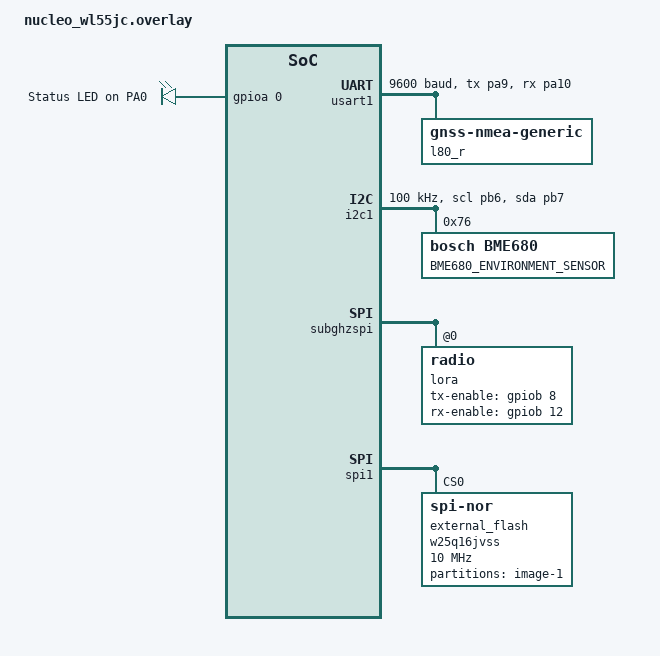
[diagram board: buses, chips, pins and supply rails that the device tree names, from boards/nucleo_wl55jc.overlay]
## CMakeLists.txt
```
#-------------------------------------------------------------------------------
# Zephyr Example Application
#
# Copyright (c) 2021 Nordic Semiconductor ASA
# SPDX-License-Identifier: Apache-2.0

cmake_minimum_required(VERSION 3.13.1)
find_package(Zephyr REQUIRED HINTS $ENV{ZEPHYR_BASE})

project(app LANGUAGES C)

target_sources(app PRIVATE 
  src/main.c 
  src/led.c 
  src/gps.c
  src/lora.c
)

zephyr_include_directories(include)

# The code below locates the git index file for this repository and adds it as a dependency for
# the application VERSION file so that if the repo has a new commit added, even if no files in
# the build have changed, the application version file will be regenerated with the new git commit
find_package(Git QUIET)
if(GIT_FOUND)
  execute_process(
    COMMAND ${GIT_EXECUTABLE} rev-parse --absolute-git-dir
    WORKING_DIRECTORY .
    OUTPUT_VARIABLE application_git_dir
    OUTPUT_STRIP_TRAILING_WHITESPACE
    ERROR_STRIP_TRAILING_WHITESPACE
    ERROR_VARIABLE stderr
    RESULT_VARIABLE return_code
  )
  # If there is an error e.g. it is not a git repo, we just silently ignore it and continue
  # without a dependency, this will be the case with freestanding applications.
  if(NOT return_code)
    if(NOT "${stderr}" STREQUAL "")
      message(WARNING "Application build version git rev-parse warned: ${stderr}")
    endif()

    set_property(TARGET app_version_h PROPERTY APP_VERSION_DEPENDS ${application_git_dir}/index)
  endif()
endif()
```

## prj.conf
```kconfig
# Copyright (c) 2021 Nordic Semiconductor ASA
# SPDX-License-Identifier: Apache-2.0
#
# This file contains selected Kconfig options for the application.

CONFIG_SENSOR=y
CONFIG_BME680=y # enable driver for BME680 gas sensor

CONFIG_GPIO=y

# for debugging purposes
CONFIG_STDOUT_CONSOLE=y
CONFIG_PRINTK=y
CONFIG_LOG=y
CONFIG_LOG_MODE_IMMEDIATE=y

CONFIG_LORA=y
CONFIG_LORAWAN=y
CONFIG_LORAWAN_REGION_EU868=y
CONFIG_HAS_SEMTECH_LORAMAC=y
CONFIG_HAS_SEMTECH_RADIO_DRIVERS=y 

CONFIG_SHELL=y
CONFIG_I2C_SHELL=y

# Enable settings to store LoRaWAN parameters (DevNonce) in non-volatile memory 
CONFIG_LORAWAN_NVM_SETTINGS=y 
CONFIG_SETTINGS=y
CONFIG_SETTINGS_RUNTIME=y
# use Non-Volatile Storage backend to store settings
# zephyr will look for a fixed partition with label "storage" in the device tree
CONFIG_NVS=y
CONFIG_SETTINGS_NVS=y 

# LoRaWAN services required for FUOTA
CONFIG_LORAWAN_SERVICES=y
CONFIG_LORAWAN_SERVICES_LOG_LEVEL_DBG=y
CONFIG_LORAWAN_APP_CLOCK_SYNC=y
CONFIG_LORAWAN_REMOTE_MULTICAST=y
CONFIG_LORAWAN_FRAG_TRANSPORT=y

CONFIG_FLASH=y
CONFIG_FLASH_MAP=y
CONFIG_MPU_ALLOW_FLASH_WRITE=y
# General Zephyr settings
CONFIG_MAIN_STACK_SIZE=2048
CONFIG_SYSTEM_WORKQUEUE_STACK_SIZE=2048
CONFIG_THREAD_NAME=y
CONFIG_LOG=y

# LoRa PHY
CONFIG_LORA=y

# NVS required to store LoRaWAN DevNonce
CONFIG_NVS=y
CONFIG_SETTINGS=y

# Random number generator required for several LoRaWAN services
CONFIG_ENTROPY_GENERATOR=y

# LoRaWAN application layer
CONFIG_LORAWAN=y
CONFIG_LORAWAN_REGION_EU868=y
CONFIG_LORAWAN_NVM_SETTINGS=y

# LoRaWAN services required for FUOTA
CONFIG_LORAWAN_SERVICES=y
CONFIG_LORAWAN_SERVICES_LOG_LEVEL_DBG=y
CONFIG_LORAWAN_APP_CLOCK_SYNC=y
CONFIG_LORAWAN_REMOTE_MULTICAST=y
CONFIG_LORAWAN_FRAG_TRANSPORT=y
CONFIG_LORAWAN_FRAG_TRANSPORT_MAX_FRAG_SIZE=30
# CONFIG_LORAWAN_FRAG_TRANSPORT_MIN_FRAG_SIZE=1

# enable SPI-NOR-Flash (external) to store firmware result for FUOTA
CONFIG_SPI_NOR=y
CONFIG_SPI_NOR_SFDP_RUNTIME=y   # auto-detects geometry at boot

# Flash driver to store firmware image
CONFIG_FLASH=y
CONFIG_FLASH_MAP=y
CONFIG_FLASH_PAGE_LAYOUT=y
CONFIG_STREAM_FLASH=y
CONFIG_IMG_MANAGER=y

# Random number generator required for several LoRaWAN services
CONFIG_ENTROPY_GENERATOR=y

# GPS module
CONFIG_SERIAL=y
CONFIG_UART_INTERRUPT_DRIVEN=y

# I2C1 for gas sensors
CONFIG_I2C=y

CONFIG_CBPRINTF_FP_SUPPORT=y # floating point support (for formatting FP numbers to strings)

CONFIG_HWINFO=y # to extract hardware ID, DevEUI-64 etc

# Increase system workqueue stack to allow Semtech soft secure-element
CONFIG_SYSTEM_WORKQUEUE_STACK_SIZE=2048
CONFIG_MAIN_STACK_SIZE=2048

CONFIG_HAS_SEMTECH_SOFT_SE=y # Enable Semtech software Secure Element implementation for LoRaMac-node
```

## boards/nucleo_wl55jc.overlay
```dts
/ {
	aliases {
		led0 = &status_led;
		gps-uart = &usart1;
		sensor-i2c = &i2c1;
		lora0 = &lora;
        gnss = &quectel;
	};

	chosen {
		zephyr,console = &lpuart1;
		zephyr,shell-uart = &lpuart1;
	};

	leds {
		compatible = "gpio-leds";
		status_led: led_0 {
			gpios = <&gpioa 0 GPIO_ACTIVE_HIGH>;
			label = "Status LED on PA0";
		};
	};
};

/* UART1 configuration for GPS-module */
&usart1 {
	status = "okay";
	current-speed = <9600>; /* default setting of L80-R */
	pinctrl-0 = <&usart1_tx_pa9 &usart1_rx_pa10>;
	pinctrl-names = "default";

    quectel: l80_r {
        compatible = "gnss-nmea-generic";
        label = "l80_r";
        status = "okay";
    };
};

/* I2C1 configuration for gas sensors */
&i2c1 {
	status = "okay";
	pinctrl-0 = <&i2c1_scl_pb6 &i2c1_sda_pb7>;
	pinctrl-names = "default";
	clock-frequency = <I2C_BITRATE_STANDARD>; /* 100 kHz, or I2C_BITRATE_FAST for 400 kHz */

	bme680: bme680@76 {
        compatible = "bosch,bme680";
        reg = <0x76>;                            
        label = "BME680_ENVIRONMENT_SENSOR";
    };
};

&subghzspi {
    status = "okay";

    lora: radio@0 {
        status = "okay";
        tx-enable-gpios = <&gpiob 8 GPIO_ACTIVE_HIGH>; 
        rx-enable-gpios = <&gpiob 12 GPIO_ACTIVE_HIGH>; 
        dio3-tcxo-voltage = <SX126X_DIO3_TCXO_3V3>;
        tcxo-power-startup-delay-ms = <5>;
        power-amplifier-output = "rfo-lp";
        rfo-lp-max-power = <15>;
        rfo-hp-max-power = <22>;
    };
};

/* Remove partition with label "image-1" in the internal Flash memory so that FUOTA does not attempt to store new firmware image here*/
/* causing memory overflow */
/delete-node/ &slot1_partition;

/* External SPI-Flash for FUOTA */
&spi1 { 
    status = "okay";
    
    external_flash: w25q16jvss@0 { 
        compatible = "jedec,spi-nor"; /* generic Zephyr SPI-Flash driver */
        reg = <0>;
        spi-max-frequency = <10000000>;
        size = <0x200000>; /* 16MBits = 2MB*/
        status = "okay";

        partitions {
            compatible = "fixed-partitions";
            #address-cells = <1>;
            #size-cells = <1>;

            /* Slot 1 for FUOTA-Updates in external Flash */
            slot1_partition: partition@0 {
                label = "image-1";
                /* Exakt selbe Größe wie slot0 im internen Flash (198 KB) */
                reg = <0x00000000 DT_SIZE_K(198)>; /* 224 KB für Upgrade-Image 0x00038000 */ 
            };
        };
    };
};
```

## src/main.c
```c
/*
 * Copyright (c) 2021 Nordic Semiconductor ASA
 * SPDX-License-Identifier: Apache-2.0
 */
// START sample code
#include <zephyr/kernel.h>
#include <zephyr/logging/log.h>
#include <zephyr/settings/settings.h>
#include <zephyr/sys/util.h>
#include <zephyr/sys/printk.h>

#include <zephyr/drivers/lora.h>
#include <zephyr/drivers/sensor.h>
#include <zephyr/drivers/gpio.h>
#include <zephyr/drivers/gnss.h> // for GPS
#include <zephyr/drivers/hwinfo.h>

#include <zephyr/lorawan/lorawan.h>

#include <stdio.h>
#include <string.h>
#include <stdint.h>
#include <errno.h>

#include "gps.h"
#include "led.h"
// #include "lora.h"

/* Customize based on network configuration */
#define LORAWAN_DEV_EUI	 { 0x00, 0x80, 0xE1, 0x15, 0x06, 0x92, 0x66, 0x73 } // for rev-a-1
//#define LORAWAN_DEV_EUI{ 0x00, 0x08, 0x0E, 0x11, 0x50, 0x69, 0x28, 0x0E } // for rev-a-2
#define LORAWAN_JOIN_EUI { 0x00, 0x00, 0x00, 0x00, 0x00, 0x00, 0x00, 0x00 }
#define LORAWAN_APP_KEY	 { 0x3A, 0xC3, 0xC1, 0x95, 0x56, 0x82, 0x07, 0x3B, 0x3C, 0xD0, 0xED, 0xAD, 0xB6, 0xFF, 0x1B, 0xDE} // for rev-a-1
//#define LORAWAN_APP_KEY{ 0x6E, 0x8E, 0xE1, 0x43, 0xDF, 0xA3, 0x03, 0x03, 0x05, 0x71, 0xBA, 0x95, 0xC5, 0x6B, 0x7F, 0x8C} // for rev-a-2

#define DELAY K_MSEC(10000)

#define LOG_LEVEL CONFIG_LOG_DEFAULT_LEVEL
#include <zephyr/logging/log.h>
LOG_MODULE_REGISTER(lorawan_class_a);

uint8_t dev_eui64[8]; // 8 bytes or 64 bits
char dev_eui64_str[17]; // 16 characters for EUI-64 in hex + null terminator
static uint16_t ttn_dev_nonce = 0u;
int ret; // return status

// this function will be called by zephyr when data is being read
static int lorawan_settings_set(const char *name, size_t len, settings_read_cb read_cb, void *cb_arg)
{
    const char *next;
	// check if the path "devnonce" already exists (the prefix "lorawan/" is filtered by the handler)
	// if yes, read the data from the NVS into the variable "ttn_dev_nonce" 
    if (settings_name_steq(name, "devnonce", &next) && !next) {
        if (len == sizeof(ttn_dev_nonce)) {
            // Daten physisch aus dem NVS in die Variable lesen
            read_cb(cb_arg, &ttn_dev_nonce, sizeof(ttn_dev_nonce));
            LOG_INF("DevNonce successfully loaded: %d", ttn_dev_nonce);
            return 0;
        }
    }
    return -ENOENT;
}

// link the path lorawan/ to the callback function above
static struct settings_handler lorawan_settings_handler = {
    .name = "lorawan",
    .h_set = lorawan_settings_set
};

static void dl_callback(uint8_t port, uint8_t flags, int16_t rssi, int8_t snr, uint8_t len, const uint8_t *hex_data)
{
	LOG_INF("Port %d, Pending %d, RSSI %ddB, SNR %ddBm, Time %d", port,
		flags & LORAWAN_DATA_PENDING, rssi, snr, !!(flags & LORAWAN_TIME_UPDATED));
	if (hex_data) {
		LOG_HEXDUMP_INF(hex_data, len, "Payload: ");
	}
}

static void lorawan_datarate_changed(enum lorawan_datarate dr)
{
	uint8_t unused, max_size;

	lorawan_get_payload_sizes(&unused, &max_size);
	LOG_INF("New Datarate: DR_%d, Max Payload %d", dr, max_size);
}

static void fuota_finished(void)
{
	LOG_INF("FUOTA finished. Reset device to apply firmware upgrade.");

	/*
	 * In an actual application the firmware should be rebooted here if
	 * no important tasks are pending
	 */
}

int descriptor_cb(uint32_t descriptor)
{
	/*
	 * In an actual application the firmware may be able to handle
	 * the descriptor field
	 */

	LOG_INF("Received descriptor %u", descriptor);

	return 0;
}

int main(void)
{
	led_init();
	gps_init();

	// START LoRaWAN join process
	// ---------------------------------------------------------------

	// retrieve 64-bit/8-byte DevEUI to connect to TTN
	ret = hwinfo_get_device_eui64(dev_eui64);
	if (ret < 0) {
		LOG_ERR("Cannot retrieve 64-bit DevEUI\n");
		return -1; // halt main completely
	}
	// Convert the DevEUI-64 to a hexadecimal string for easier display and use
	for (int i = 0; i < 8; i++) {
		snprintf(&dev_eui64_str[i * 2], 3, "%02X", dev_eui64[i]);
	}
	LOG_INF("Device EUI-64: %s\n", dev_eui64_str);

	// load settings to retrieve dev_nonce from NVS (if it exists)
	ret = settings_subsys_init();
	ret = settings_register(&lorawan_settings_handler);
	// this will call the callback function "lorawan_settings_set" 
	// which will load the dev_nonce from NVS into the variable "ttn_dev_nonce"
	ret = settings_load(); 

	const struct device *lora_dev;
	struct lorawan_join_config join_cfg;
	uint8_t dev_eui[] = LORAWAN_DEV_EUI;
	uint8_t join_eui[] = LORAWAN_JOIN_EUI;
	uint8_t app_key[] = LORAWAN_APP_KEY;

	struct lorawan_downlink_cb downlink_cb = {
		.port = LW_RECV_PORT_ANY,
		.cb = dl_callback
	};

	lora_dev = DEVICE_DT_GET(DT_ALIAS(lora0));
	if (!device_is_ready(lora_dev)) {
		LOG_ERR("%s: device not ready.", lora_dev->name);
		return 0;
	}

	#if defined(CONFIG_LORAWAN_REGION_EU868)
		/* If more than one region Kconfig is selected, app should set region
		* before calling lorawan_start()
		*/
		ret = lorawan_set_region(LORAWAN_REGION_EU868);
		if (ret < 0) {
			LOG_ERR("lorawan_set_region failed: %d", ret);
			return 0;
		}
	#endif

	ret = lorawan_start();
	if (ret < 0) {
		LOG_ERR("lorawan_start failed: %d", ret);
		return 0;
	}

	lorawan_register_downlink_callback(&downlink_cb);
	lorawan_register_dr_changed_callback(lorawan_datarate_changed);

	join_cfg.mode = LORAWAN_ACT_OTAA;
	join_cfg.dev_eui = dev_eui64;
	join_cfg.otaa.join_eui = join_eui;
	join_cfg.otaa.app_key = app_key;
	join_cfg.otaa.nwk_key = app_key;
	join_cfg.otaa.dev_nonce = ttn_dev_nonce;

	LOG_INF("Joining network over OTAA");

	// repeatedly trying to join the network until successful
	while(1) {
		ret = lorawan_join(&join_cfg);
		if(ret < 0) {
			LOG_ERR("lorawan_join_network failed: %d", ret);
			k_msleep(20000);
		}
		else if(ret == 0) {
			LOG_INF("Successfully joined network!");
			break;
		}
	}
	// blink status_led to signalize successful network join
	for(int i=0; i<=10; i++) {
		led_toggle();
		k_msleep(100); // ms
	}
	// increment dev_nonce and save back to NVS for subsequent join attempts
	ttn_dev_nonce++;
	ret = settings_save_one("lorawan/devnonce", &ttn_dev_nonce, sizeof(ttn_dev_nonce)); 

	ret = lorawan_send(1, "Start session", 13, LORAWAN_MSG_CONFIRMED);
	// END LoRaWAN join process
	// ---------------------------------------------------------------

	// START FUOTA (firmware update over-the-air) implementation
	// ---------------------------------------------------------------
	/*
	 * Clock synchronization is required to schedule the multicast session
	 * in class C mode. It can also be used independent of FUOTA.
	 */
	lorawan_clock_sync_run();

	/*
	 * The multicast session setup service is automatically started in the
	 * background. It is also responsible for switching to class C at a
	 * specified time.
	 */

	/*
	 * The fragmented data transport transfers the actual firmware image.
	 * It could also be used in a class A session, but would take very long
	 * in that case.
	 */
	// NOTE: when during the build process the error RAM overflowed by ... bytes is returned,
	//       change CONFIG_LORAWAN_FRAG_TRANSPORT_MAX_FRAG_SIZE=30 to something smaller  
	lorawan_frag_transport_run(fuota_finished); // receives fragmented data (usually firmware images) and stores them in the image-1 flash partition
	lorawan_frag_transport_register_descriptor_callback(descriptor_cb);
	// END FUOTA (firmware update over-the-air) implementation
	// ---------------------------------------------------------------

	// START: BME680
	const struct device *const bme680_dev = DEVICE_DT_GET_ANY(bosch_bme680);

    if (!device_is_ready(bme680_dev)) {
        LOG_ERR("Error: %s sensor is not ready!\n", bme680_dev->name);
        // return -ENODEV;
    }

    LOG_INF("BME680-Driver successfully loaded\n");
	// Read BME680 data
    struct sensor_value temp, press, humidity, gas;
	char bme680_tx_string[16]; // convert raw data bytes to ASCII strings for ease of debugging

	// superloop
	while (1) {
		if (sensor_sample_fetch(bme680_dev) < 0) {
            LOG_INF("Error: cannot read sensor data!\n");
            continue;
        }
		else {
			sensor_channel_get(bme680_dev, SENSOR_CHAN_AMBIENT_TEMP, &temp);
			double temp_double = sensor_value_to_double(&temp);
			// if sensor values should be sent as raw bytes
			// ----------------------------------------------------------
            // int16_t tx_buffer = (int16_t)(temp_double * 100.0);
			// int ret = lora_send(lora_dev, &tx_buffer, sizeof(tx_buffer));
			// ----------------------------------------------------------
			// Alternatively, sensor data can also be sent as strings
			// This is preferred when testing using GNURadio since it interpretes raw bytes as ASCII strings
			// ----------------------------------------------------------
			snprintk(bme680_tx_string, sizeof(bme680_tx_string), "%.2f", temp_double);
			// ret = lorawan_send(2, bme680_tx_string, strlen(bme680_tx_string), LORAWAN_MSG_CONFIRMED);
			/*
			* Note: The stack may return -EAGAIN if the provided data
			* length exceeds the maximum possible one for the region and
			* datarate. But since we are just sending the same data here,
			* we'll just continue.
			*/
			if (ret == -EAGAIN) {
				LOG_ERR("lorawan_send failed: %d. Continuing...", ret);
				continue;
			}

			if (ret < 0) {
				LOG_ERR("lorawan_send failed: %d", ret);
			}

			LOG_INF("Data sent!");
			led_toggle();
			k_msleep(1000);
		}
		ret = lorawan_send(1, "b", 1, LORAWAN_MSG_UNCONFIRMED);
		if(ret == 0) {
			led_toggle();
		}
		k_msleep(1000);
	}
}
```

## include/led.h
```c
#ifndef LED_H
#define LED_H

#include <zephyr/types.h>
#include <zephyr/device.h>

int led_init(void);
void led_blink(int delay_ms);
void led_toggle(void);

#endif
```

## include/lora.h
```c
#ifndef CUSTOM_LORA_H
#define CUSTOM_LORA_H

extern const struct device *const lora_dev;

int lora_init(void);
int rf_switch_init(void);
void config_rf_switch_tx(void);
void config_rf_switch_rx(void);
void lora_tx_test(void);

#endif
```

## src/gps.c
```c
#include "gps.h"

#include <zephyr/drivers/uart.h>
#include <zephyr/kernel.h>

// Get the UART device for the GPS module using the device tree alias
static const struct device *uart_dev = DEVICE_DT_GET(DT_ALIAS(gps_uart));

int gps_init(void) {
    if (!device_is_ready(uart_dev)) {
        printk("Error: GPS UART device is not ready\n");
        return -ENODEV; // no such device error
    }
    printk("GPS UART device is ready\n");
    return 0;
}

void gps_print_raw_data(void) {
    unsigned char c;
    if(uart_poll_in(uart_dev, &c) == 0) {
        printk("%c", c);
    }
}
```

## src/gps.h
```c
#ifndef GPS_H
#define GPS_H

#include <zephyr/types.h>
#include <zephyr/device.h>

int gps_init(void);
void gps_print_raw_data(void);

#endif
```

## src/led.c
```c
#include <zephyr/kernel.h>
#include <zephyr/drivers/gpio.h>
#include <errno.h> // to use error codes like -ENODEV

#include "led.h"

// Get the GPIO device for the status LED using the device tree alias
static const struct gpio_dt_spec status_led = GPIO_DT_SPEC_GET(DT_ALIAS(led0), gpios);

int led_init(void) {
    if (!gpio_is_ready_dt(&status_led)) {
        printk("Error: Status LED device is not ready\n");
        return -ENODEV; // no such device error
    }
    else {
        gpio_pin_configure_dt(&status_led, GPIO_OUTPUT_ACTIVE);
        return 0;
    }
}
    
void led_blink(int delay_ms) {
	while (1) {
		gpio_pin_toggle_dt(&status_led);
		k_msleep(delay_ms);
	}
}

void led_toggle(void) {
    gpio_pin_toggle_dt(&status_led);
}
```

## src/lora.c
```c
#include <zephyr/drivers/lora.h>
#include <zephyr/drivers/gpio.h>
#include <zephyr/logging/log.h>
#include <errno.h>

#include "lora.h"

LOG_MODULE_REGISTER(lora_module, LOG_LEVEL_DBG);

#define DEFAULT_RADIO_NODE DT_ALIAS(lora0)
BUILD_ASSERT(DT_NODE_HAS_STATUS_OKAY(DEFAULT_RADIO_NODE), "No default LoRa radio specified in DT");

extern const struct device *const lora_dev = DEVICE_DT_GET(DEFAULT_RADIO_NODE);

int lora_init(void) {
	// lora_dev = DEVICE_DT_GET(DEFAULT_RADIO_NODE);
	struct lora_modem_config config = {0};
	int ret;

	if (!device_is_ready(lora_dev)) {
		LOG_ERR("%s Device not ready", lora_dev->name);
		return 0;
	}

	config.frequency = 868000000;
	config.bandwidth = BW_125_KHZ;
	config.datarate = SF_9;
	config.preamble_len = 8;
	config.coding_rate = CR_4_5;
	config.iq_inverted = false;
	config.public_network = false;
	config.tx_power = 14; // dBm
	config.tx = true;

	ret = lora_config(lora_dev, &config);
	if (ret < 0) {
		LOG_ERR("LoRa config failed");
		return 0;
	}

	// LOG_INF("Expected packet airtime: %u ms", lora_airtime(lora_dev, MAX_DATA_LEN));
	return 0;
}

void lora_tx_test(void) {
    const struct device *const lora_dev = DEVICE_DT_GET(DEFAULT_RADIO_NODE);
    int ret;

    ret = lora_send(lora_dev, "LoRa ist geil", 13);
    if (ret < 0) {
        LOG_ERR("LoRa send failed");
        return;
    }
    LOG_INF("LoRa packet sent");
}
```
